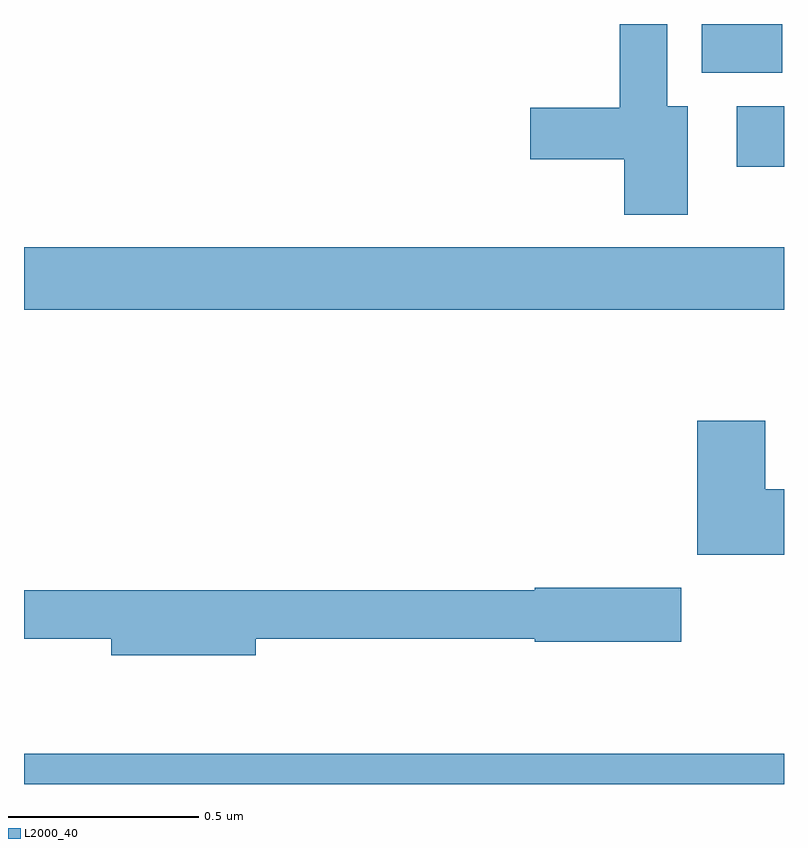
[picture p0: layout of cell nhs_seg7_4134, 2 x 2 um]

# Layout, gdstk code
import gdstk
lib = gdstk.Library(unit=1e-6, precision=1e-09)
def R(c, l, rs):  # rectangles x0, y0, x1, y1
    for r in rs: c.add(gdstk.rectangle(r[:2], r[2:], *l))
def P(c, l, *ps):  # polygons
    for p in ps: c.add(gdstk.Polygon(p, *l))
L2000_40 = (2000, 40)

nhs_seg7_4134 = lib.new_cell('nhs_seg7_4134')
R(nhs_seg7_4134, L2000_40, [(168,1034,170,1034.08), (168,1035.248,170,1035.412), (169.875,1035.624,170,1035.783), (169.784,1035.872,169.996,1036)])
P(nhs_seg7_4134, L2000_40, [(169.747,1035.784),(169.693,1035.784),(169.693,1036),(169.568,1036),(169.568,1035.779),(169.332,1035.779),(169.332,1035.644),(169.58,1035.644),(169.58,1035.498),(169.747,1035.498)],
  [(170,1034.776),(169.95,1034.776),(169.95,1034.956),(169.772,1034.956),(169.772,1034.603),(170,1034.603)],
  [(168.61,1034.382),(169.344,1034.382),(169.344,1034.374),(169.729,1034.374),(169.729,1034.516),(169.344,1034.516),(169.344,1034.51),(168,1034.51),(168,1034.382),(168.23,1034.382),(168.23,1034.339),(168.61,1034.339)])

lib.write_gds('nhs_seg7_4134.gds')
